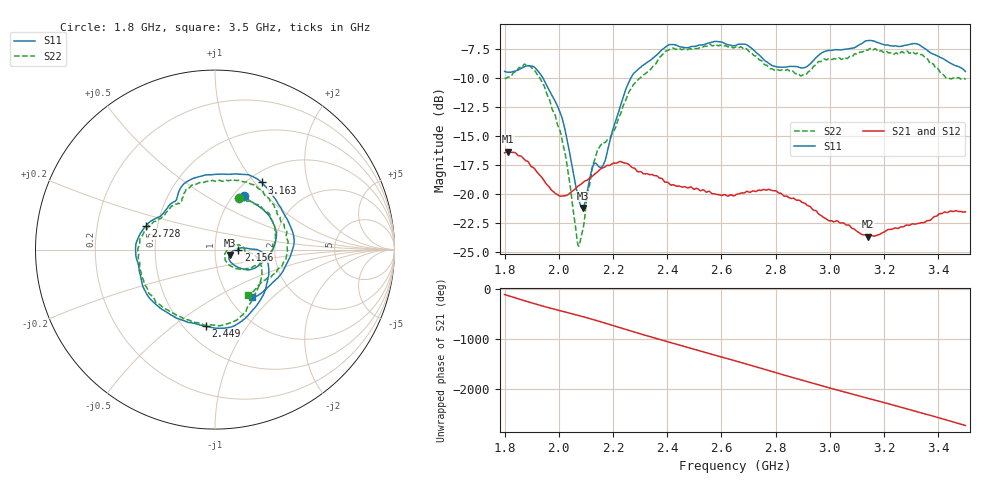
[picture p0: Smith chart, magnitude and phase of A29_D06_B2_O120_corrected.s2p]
! Created with skrf 1.9.0 (http://scikit-rf.org).
# Hz S RI R 50.0
!freq ReS11 ImS11 ReS21 ImS21 ReS12 ImS12 ReS22 ImS22
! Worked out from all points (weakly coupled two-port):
!   1601 points, 1.8 GHz to 3.5 GHz, reference 50 ohm
!   highest |S21| = -16.37 dB at 1.814 GHz (marker M1); lowest = -23.7 dB at 3.142 GHz (marker M2)
!   lowest |S11| = -21.2 dB at 2.088 GHz (marker M3), VSWR 1.19, Z = 58.7 - j3.73 ohm
!   |S11| at or under -10 dB: 1.941 GHz to 2.266 GHz (324.7 MHz wide, 15.4 % of centre)
!   |S22| runs from -24.5 to -7.1 dB; largest |S21 - S12| = 0.0026
!   S11 on the Smith chart (normalised r, x): 1.8 GHz: 1.12, +0.75; 2.156 GHz: 1.30, -0.00; 2.449 GHz: 0.63, -0.67; 2.728 GHz: 0.43, +0.13; 3.163 GHz: 1.16, +1.09; 3.5 GHz: 1.27, -0.76
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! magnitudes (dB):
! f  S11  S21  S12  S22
! 1.8 GHz  -9.4  -16.5  -16.4  -10.0
! 1.814 GHz  -9.5  -16.4  -16.4  -9.9
! 1.88 GHz  -9.0  -17.2  -17.1  -8.9
! 1.942 GHz  -10.0  -18.7  -18.7  -10.6
! 2.011 GHz  -13.4  -20.2  -20.2  -15.3
! 2.068 GHz  -19.9  -19.4  -19.4  -24.0
! 2.084 GHz  -21.2  -19.1  -19.1  -23.5
! 2.088 GHz  -21.2  -19.1  -19.0  -23.2
! 2.127 GHz  -17.5  -18.4  -18.4  -17.4
! 2.156 GHz  -17.7  -17.8  -17.8  -15.8
! 2.263 GHz  -10.1  -17.6  -17.6  -11.0
! 2.367 GHz  -7.9  -18.6  -18.5  -8.4
! 2.449 GHz  -7.3  -19.4  -19.4  -7.5
! 2.65 GHz  -7.2  -20.1  -20.1  -7.3
! 2.728 GHz  -7.8  -19.8  -19.8  -8.1
! 2.803 GHz  -9.0  -19.8  -19.8  -9.3
! 2.934 GHz  -8.6  -21.3  -21.2  -9.2
! 3.142 GHz  -6.8  -23.7  -23.6  -7.6
! 3.163 GHz  -6.8  -23.7  -23.6  -7.5
! 3.217 GHz  -7.2  -23.1  -23.0  -7.8
! 3.324 GHz  -7.1  -22.6  -22.5  -7.9
! 3.5 GHz  -9.4  -21.6  -21.5  -10.1
